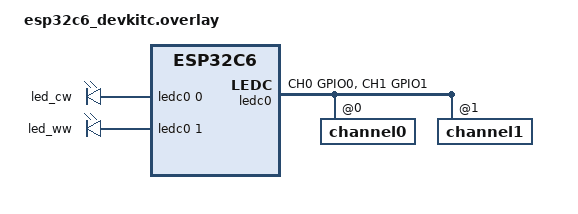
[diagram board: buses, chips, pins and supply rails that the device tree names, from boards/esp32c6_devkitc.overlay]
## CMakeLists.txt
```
# SPDX-License-Identifier: Apache-2.0
cmake_minimum_required(VERSION 3.20.0)

find_package(Zephyr REQUIRED HINTS $ENV{ZEPHYR_BASE})
project(coap_light)

target_include_directories(app PRIVATE ${CMAKE_CURRENT_SOURCE_DIR}/../common)

target_sources(app PRIVATE
  src/main.c
  src/light_state.c
  src/light_resource.c
  src/payload.c
)
```

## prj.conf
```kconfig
# --- Light node (mains-powered Thread FTD/Router) ---

# Networking + IPv6
CONFIG_NETWORKING=y
CONFIG_NET_IPV6=y
CONFIG_NET_UDP=y
CONFIG_NET_SOCKETS=y
CONFIG_NET_CONNECTION_MANAGER=y

# OpenThread as the L2 (portable across nRF / EFR32 / ESP32)
CONFIG_NET_L2_OPENTHREAD=y
CONFIG_OPENTHREAD_FTD=y
CONFIG_OPENTHREAD_MANUAL_START=n
# Preconfigured network for bring-up; replace with commissioning in production.
CONFIG_OPENTHREAD_JOINER=y
CONFIG_OPENTHREAD_SRP_CLIENT=y

# CoAP server subsystem (handles sockets, resources, observe)
CONFIG_COAP=y
CONFIG_COAP_SERVER=y
CONFIG_COAP_SERVER_WELL_KNOWN_CORE=y
CONFIG_COAP_SERVICE_OBSERVE=y
CONFIG_COAP_OBSERVER_MAX_PER_RESOURCE=4

# CBOR payloads
CONFIG_ZCBOR=y

# Persist last light state across reboots
CONFIG_SETTINGS=y
CONFIG_SETTINGS_RUNTIME=y
CONFIG_FLASH=y
CONFIG_FLASH_MAP=y
CONFIG_NVS=y
CONFIG_SETTINGS_NVS=y

# GPIO for relay/LED/button, PWM for the CW/WW LED channels
CONFIG_GPIO=y
CONFIG_PWM=y

# Logging
CONFIG_LOG=y
CONFIG_NET_LOG=y

# Reasonable stack/heap for the networking + CoAP workload
CONFIG_MAIN_STACK_SIZE=4096
CONFIG_HEAP_MEM_POOL_SIZE=16384
CONFIG_NET_PKT_RX_COUNT=16
CONFIG_NET_PKT_TX_COUNT=16
CONFIG_NET_BUF_RX_COUNT=32
CONFIG_NET_BUF_TX_COUNT=32
```

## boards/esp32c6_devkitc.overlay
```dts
/*
 * Light node (tunable-white LED PCB) on ESP32-C6. Cool/warm white LEDs driven
 * by the LEDC PWM peripheral for color temperature + dimming.
 *
 * NOTE: LEDC channel/pin wiring is board-specific — confirm the GPIOs/pinmux
 * against your custom PCB. See docs/hardware/light-node.md.
 */
#include <zephyr/dt-bindings/pwm/pwm.h>
#include <dt-bindings/pinctrl/esp32c6-pinctrl.h>

/ {
	aliases {
		pwm-cw = &led_cw;
		pwm-ww = &led_ww;
	};

	pwmleds {
		compatible = "pwm-leds";
		led_cw: led_cw { pwms = <&ledc0 0 PWM_HZ(1000) PWM_POLARITY_NORMAL>; };
		led_ww: led_ww { pwms = <&ledc0 1 PWM_HZ(1000) PWM_POLARITY_NORMAL>; };
	};
};

&ledc0 {
	pinctrl-0 = <&ledc0_default>;
	pinctrl-names = "default";
	status = "okay";
	#address-cells = <1>;
	#size-cells = <0>;

	channel0@0 { reg = <0x0>; timer = <0>; };
	channel1@1 { reg = <0x1>; timer = <0>; };
};

&pinctrl {
	ledc0_default: ledc0_default {
		group1 {
			pinmux = <LEDC_CH0_GPIO0>,
				 <LEDC_CH1_GPIO1>;
			output-enable;
		};
	};
};
```

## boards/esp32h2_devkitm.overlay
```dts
/*
 * Light node (tunable-white LED PCB) on ESP32-H2. Cool/warm white LEDs driven
 * by the LEDC PWM peripheral for color temperature + dimming.
 *
 * NOTE: LEDC channel/pin wiring is board-specific — confirm the GPIOs/pinmux
 * against your custom PCB. See docs/hardware/light-node.md.
 */
#include <zephyr/dt-bindings/pwm/pwm.h>
#include <dt-bindings/pinctrl/esp32h2-pinctrl.h>

/ {
	aliases {
		pwm-cw = &led_cw;
		pwm-ww = &led_ww;
	};

	pwmleds {
		compatible = "pwm-leds";
		led_cw: led_cw { pwms = <&ledc0 0 PWM_HZ(1000) PWM_POLARITY_NORMAL>; };
		led_ww: led_ww { pwms = <&ledc0 1 PWM_HZ(1000) PWM_POLARITY_NORMAL>; };
	};
};

&ledc0 {
	pinctrl-0 = <&ledc0_default>;
	pinctrl-names = "default";
	status = "okay";
	#address-cells = <1>;
	#size-cells = <0>;

	channel0@0 { reg = <0x0>; timer = <0>; };
	channel1@1 { reg = <0x1>; timer = <0>; };
};

&pinctrl {
	ledc0_default: ledc0_default {
		group1 {
			pinmux = <LEDC_CH0_GPIO0>,
				 <LEDC_CH1_GPIO1>;
			output-enable;
		};
	};
};
```

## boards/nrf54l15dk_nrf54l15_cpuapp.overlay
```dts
/*
 * Light node = tunable-white LED PCB (cool white + warm white, nRF54L15),
 * powered from a KC-certified SMPS DC rail. Two PWM channels drive the CW and
 * WW LED strings for color temperature + dimming.
 *
 * This overlay targets the nRF54L15 DK for prototyping; on the custom PCB keep
 * the same aliases (pwm-cw / pwm-ww) and map them to the real LED-driver gate
 * pins. Pins/channels below are examples — confirm against your schematic.
 * See docs/hardware/light-node.md.
 */
#include <zephyr/dt-bindings/pwm/pwm.h>

/ {
	aliases {
		pwm-cw = &led_cw;
		pwm-ww = &led_ww;
	};

	pwmleds {
		compatible = "pwm-leds";
		led_cw: led_cw { pwms = <&pwm20 0 PWM_MSEC(1) PWM_POLARITY_NORMAL>; };
		led_ww: led_ww { pwms = <&pwm20 1 PWM_MSEC(1) PWM_POLARITY_NORMAL>; };
	};
};

&pwm20 {
	status = "okay";
	pinctrl-0 = <&pwm20_default>;
	pinctrl-names = "default";
};

&pinctrl {
	pwm20_default: pwm20_default {
		group1 {
			psels = <NRF_PSEL(PWM_OUT0, 1, 4)>,
				<NRF_PSEL(PWM_OUT1, 1, 5)>;
		};
	};
};
```

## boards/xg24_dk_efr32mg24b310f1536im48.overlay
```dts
/*
 * Light node on Silicon Labs xG24 / EFR32MG24 (MGM240 core).
 *
 * The firmware supports tunable-white (CW/WW) dimming via PWM (aliases pwm-cw/
 * pwm-ww) OR simple on/off via a "light-relay" GPIO. PWM driver coverage for
 * Silabs Series 2 in Zephyr varies by SDK version, so this overlay ships the
 * on/off relay back end to guarantee a clean build.
 *
 * To enable color-temperature + dimming on this SoC:
 *   1. Confirm a PWM provider node is available for your EFR32MG24 in your
 *      Zephyr/SDK version (enable it with status = "okay").
 *   2. Replace the block below with a "pwm-leds" node + pwm-cw/pwm-ww aliases,
 *      mirroring boards/nrf54l15dk_nrf54l15_cpuapp.overlay.
 * See docs/hardware/light-node.md.
 */
/ {
	aliases {
		light-relay = &light_relay;
	};

	light_relays {
		compatible = "gpio-leds";
		light_relay: relay_0 {
			gpios = <&gpioc 0 GPIO_ACTIVE_HIGH>;
			label = "Light relay (on/off; swap for PWM CW/WW)";
		};
	};
};
```

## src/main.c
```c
#include <zephyr/kernel.h>
#include <zephyr/logging/log.h>
#include <zephyr/net/openthread.h>
#include <openthread/thread.h>

#include "light_state.h"

LOG_MODULE_REGISTER(light_main, LOG_LEVEL_INF);

/* Defined in light_resource.c: wires CoAP resources to the state module. */
void light_resource_init(void);

int main(void)
{
	LOG_INF("CoAP-over-Thread light node starting");

	/* With CONFIG_NET_L2_OPENTHREAD the Thread stack is initialized and
	 * (unless MANUAL_START) attempts to attach automatically using the
	 * commissioned/joined dataset. As an FTD/router it stays awake.
	 */
	struct openthread_context *ot = openthread_get_default_context();

	if (ot == NULL) {
		LOG_ERR("no OpenThread context");
		return -1;
	}

	/* Bring up CoAP resources + restore/drive the relay output. */
	light_resource_init();

	LOG_INF("light node ready; role=%d",
		otThreadGetDeviceRole(ot->instance));

	/* Application work is interrupt/CoAP driven; nothing to poll here. */
	return 0;
}
```

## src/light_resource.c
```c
/*
 * CoAP resources for the light node, built on Zephyr's coap_service subsystem.
 *
 *   GET  /light        -> current state
 *   PUT  /light        -> set (partial) state
 *   POST /light        -> toggle
 *   GET  /light/state  -> current state, observable (RFC 7641)
 *
 * The observe/notify flow mirrors samples/net/sockets/coap_server. Exact helper
 * names can vary slightly between Zephyr versions; adjust to your SDK if needed.
 */
#include <zephyr/kernel.h>
#include <zephyr/net/coap.h>
#include <zephyr/net/coap_service.h>
#include <zephyr/logging/log.h>

#include "light_state.h"
#include "payload.h"

LOG_MODULE_REGISTER(light_resource, LOG_LEVEL_INF);

#define MAX_COAP_MSG_LEN 128
#define STATE_PAYLOAD_MAX 64

/* One CoAP service listening on the default CoAP UDP port on all interfaces. */
COAP_SERVICE_DEFINE(light_service, "0.0.0.0", &(uint16_t){COAP_PORT},
		    COAP_SERVICE_AUTOSTART);

/* Observer pool for the observable /light/state resource. */
static struct coap_observer observers[CONFIG_COAP_OBSERVER_MAX_PER_RESOURCE];

/* Forward decl of the observable resource so the change callback can notify. */
static struct coap_resource *state_resource;

/* --- helpers --- */

static int build_state_response(struct coap_packet *resp, uint8_t *buf,
				size_t buf_len, const struct coap_packet *req,
				uint8_t code, int observe_seq)
{
	uint16_t id = coap_header_get_id(req);
	uint8_t token[COAP_TOKEN_MAX_LEN];
	uint8_t tkl = coap_header_get_token(req, token);
	uint8_t payload[STATE_PAYLOAD_MAX];
	struct light_state st;
	int plen;
	int r;

	r = coap_packet_init(resp, buf, buf_len, COAP_VERSION_1,
			     COAP_TYPE_ACK, tkl, token, code, id);
	if (r < 0) {
		return r;
	}

	if (observe_seq >= 0) {
		r = coap_append_option_int(resp, COAP_OPTION_OBSERVE,
					   observe_seq);
		if (r < 0) {
			return r;
		}
	}

	r = coap_append_option_int(resp, COAP_OPTION_CONTENT_FORMAT,
				   COAP_CT_CBOR);
	if (r < 0) {
		return r;
	}

	light_state_get(&st);
	plen = payload_encode_state(&st, NULL, payload, sizeof(payload));
	if (plen < 0) {
		return plen;
	}

	r = coap_packet_append_payload_marker(resp);
	if (r < 0) {
		return r;
	}
	return coap_packet_append_payload(resp, payload, plen);
}

/* --- GET /light and GET /light/state --- */

static int light_get(struct coap_resource *resource,
		     struct coap_packet *request,
		     struct sockaddr *addr, socklen_t addr_len)
{
	uint8_t buf[MAX_COAP_MSG_LEN];
	struct coap_packet response;
	int observe = -1;
	int r;

	/* Handle observe registration/deregistration on the state resource. */
	if (resource == state_resource) {
		int opt = coap_resource_parse_observe(resource, request, addr);

		if (opt == 0) {
			struct coap_observer *o =
				coap_observer_next_unused(observers,
							  ARRAY_SIZE(observers));
			if (o) {
				coap_observer_init(o, request, addr);
				coap_register_observer(resource, o);
				observe = resource->age;
				LOG_INF("observer registered");
			}
		} else if (opt == 1) {
			struct coap_observer *o =
				coap_find_observer(observers,
						   ARRAY_SIZE(observers),
						   addr, NULL, 0);
			if (o) {
				coap_remove_observer(resource, o);
				LOG_INF("observer removed");
			}
		}
	}

	r = build_state_response(&response, buf, sizeof(buf), request,
				 COAP_RESPONSE_CODE_CONTENT, observe);
	if (r < 0) {
		return r;
	}
	return coap_resource_send(resource, &response, addr, addr_len, NULL);
}

/* --- PUT /light --- */

static int light_put(struct coap_resource *resource,
		     struct coap_packet *request,
		     struct sockaddr *addr, socklen_t addr_len)
{
	uint8_t buf[MAX_COAP_MSG_LEN];
	struct coap_packet response;
	const uint8_t *payload;
	uint16_t payload_len;
	struct light_update upd;
	uint8_t code = COAP_RESPONSE_CODE_CHANGED;

	payload = coap_packet_get_payload(request, &payload_len);
	if (payload == NULL || payload_len == 0 ||
	    payload_decode_update(payload, payload_len, &upd) != 0) {
		code = COAP_RESPONSE_CODE_BAD_REQUEST;
	} else {
		light_state_apply(&upd, LIGHT_SRC_BRIDGE);
	}

	if (build_state_response(&response, buf, sizeof(buf), request, code,
				 -1) < 0) {
		return -EINVAL;
	}
	return coap_resource_send(resource, &response, addr, addr_len, NULL);
}

/* --- POST /light (toggle) --- */

static int light_post(struct coap_resource *resource,
		      struct coap_packet *request,
		      struct sockaddr *addr, socklen_t addr_len)
{
	uint8_t buf[MAX_COAP_MSG_LEN];
	struct coap_packet response;

	light_state_toggle(LIGHT_SRC_SWITCH);

	if (build_state_response(&response, buf, sizeof(buf), request,
				 COAP_RESPONSE_CODE_CHANGED, -1) < 0) {
		return -EINVAL;
	}
	return coap_resource_send(resource, &response, addr, addr_len, NULL);
}

/* --- resource definitions --- */

static const char * const light_path[] = { COAP_URI_LIGHT, NULL };
static const char * const light_state_path[] = {
	COAP_URI_LIGHT_STATE_0, COAP_URI_LIGHT_STATE_1, NULL
};

COAP_RESOURCE_DEFINE(light, light_service, {
	.path = light_path,
	.get = light_get,
	.put = light_put,
	.post = light_post,
});

COAP_RESOURCE_DEFINE(light_state, light_service, {
	.path = light_state_path,
	.get = light_get,
});

/* --- notify observers on state change (called from light_state) --- */

static void notify_observers(const struct light_state *state, const char *src)
{
	struct coap_resource *resource = state_resource;
	struct coap_observer *o;

	if (resource == NULL) {
		return;
	}

	resource->age++;

	SYS_SLIST_FOR_EACH_CONTAINER(&resource->observers, o, list) {
		uint8_t buf[MAX_COAP_MSG_LEN];
		uint8_t payload[STATE_PAYLOAD_MAX];
		struct coap_packet notif;
		int plen;

		if (coap_packet_init(&notif, buf, sizeof(buf), COAP_VERSION_1,
				     COAP_TYPE_NON_CON, o->tkl, o->token,
				     COAP_RESPONSE_CODE_CONTENT,
				     coap_next_id()) < 0) {
			continue;
		}
		if (coap_append_option_int(&notif, COAP_OPTION_OBSERVE,
					   resource->age) < 0) {
			continue;
		}
		if (coap_append_option_int(&notif, COAP_OPTION_CONTENT_FORMAT,
					   COAP_CT_CBOR) < 0) {
			continue;
		}
		plen = payload_encode_state(state, src, payload,
					    sizeof(payload));
		if (plen < 0) {
			continue;
		}
		if (coap_packet_append_payload_marker(&notif) < 0) {
			continue;
		}
		if (coap_packet_append_payload(&notif, payload, plen) < 0) {
			continue;
		}
		coap_resource_send(resource, &notif, &o->addr,
				   sizeof(o->addr), NULL);
	}
}

void light_resource_init(void)
{
	state_resource = &light_state;
	light_state_init(notify_observers);
}
```

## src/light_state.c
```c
#include <zephyr/kernel.h>
#include <zephyr/drivers/gpio.h>
#include <zephyr/drivers/pwm.h>
#include <zephyr/settings/settings.h>
#include <zephyr/logging/log.h>

#include "light_state.h"

LOG_MODULE_REGISTER(light_state, LOG_LEVEL_INF);

/*
 * Output back end is selected at build time from the board overlay:
 *
 *   - Tunable-white LED PCB (this project's light): two PWM channels
 *     pwm-cw (cool white) and pwm-ww (warm white) give brightness + color
 *     temperature. The CW/WW split is derived from the color temperature and
 *     both are scaled by the master brightness.
 *   - Simple on/off fixture: a single "light-relay" GPIO.
 *
 * See docs/hardware/light-node.md.
 */
#if DT_NODE_EXISTS(DT_ALIAS(pwm_cw)) && DT_NODE_EXISTS(DT_ALIAS(pwm_ww))
#define HAVE_CCT_PWM 1
static const struct pwm_dt_spec pwm_cw = PWM_DT_SPEC_GET(DT_ALIAS(pwm_cw));
static const struct pwm_dt_spec pwm_ww = PWM_DT_SPEC_GET(DT_ALIAS(pwm_ww));
#else
#define HAVE_CCT_PWM 0
#define LIGHT_RELAY_NODE DT_ALIAS(light_relay)
#if !DT_NODE_EXISTS(LIGHT_RELAY_NODE)
#error "Board overlay must define pwm-cw/pwm-ww aliases or a 'light-relay' GPIO"
#endif
static const struct gpio_dt_spec relay =
	GPIO_DT_SPEC_GET(LIGHT_RELAY_NODE, gpios);
#endif

/* Optional status LED mirrors the on/off state. */
#define LED0_NODE DT_ALIAS(led0)
#if DT_NODE_EXISTS(LED0_NODE)
static const struct gpio_dt_spec led = GPIO_DT_SPEC_GET(LED0_NODE, gpios);
#endif

static struct light_state g_state = {
	.on = false,
#if HAVE_CCT_PWM
	.bri = LIGHT_BRI_MAX,               /* tunable-white: full brightness */
	.ct = (LIGHT_CT_MIN + LIGHT_CT_MAX) / 2, /* neutral color temp */
#else
	.bri = 0,                           /* on/off fixture: no dimming */
#endif
	.seq = 0,
};
static struct k_mutex g_lock;
static light_state_changed_cb g_cb;

#define SETTINGS_KEY "light/state"

/* --- persistence via the settings subsystem --- */

static int state_settings_set(const char *name, size_t len,
			      settings_read_cb read_cb, void *cb_arg)
{
	if (settings_name_steq(name, "state", NULL)) {
		struct light_state loaded;
		ssize_t n = read_cb(cb_arg, &loaded, sizeof(loaded));

		if (n == sizeof(loaded)) {
			g_state = loaded;
		}
		return 0;
	}
	return -ENOENT;
}

SETTINGS_STATIC_HANDLER_DEFINE(light, "light", NULL, state_settings_set,
			      NULL, NULL);

static void state_persist(void)
{
	int err = settings_save_one(SETTINGS_KEY, &g_state, sizeof(g_state));

	if (err) {
		LOG_WRN("settings_save_one failed: %d", err);
	}
}

/* --- output --- */

#if HAVE_CCT_PWM
/* Set one channel: duty = value(0..255) * bri(0..254) / (255*254) of period.
 * When off, duty is 0. */
static void set_channel(const struct pwm_dt_spec *ch, uint8_t value)
{
	uint32_t period = ch->period;
	uint32_t bri = g_state.on ? g_state.bri : 0;
	uint32_t pulse = (uint32_t)((uint64_t)period * value * bri /
				    (255u * LIGHT_BRI_MAX));

	(void)pwm_set_pulse_dt(ch, pulse);
}
#endif

static void drive_output(void)
{
#if HAVE_CCT_PWM
	/* Map color temperature (mireds) to a cool/warm split. Higher mired =
	 * warmer, so warm_frac rises toward LIGHT_CT_MAX. cw + ww values sum to
	 * 255 so overall output stays ~constant across the CT range. */
	uint16_t ct = g_state.ct;

	if (ct < LIGHT_CT_MIN) {
		ct = LIGHT_CT_MIN;
	}
	if (ct > LIGHT_CT_MAX) {
		ct = LIGHT_CT_MAX;
	}
	uint32_t warm = (uint32_t)(ct - LIGHT_CT_MIN) * 255u /
			(LIGHT_CT_MAX - LIGHT_CT_MIN);
	uint8_t ww_val = (uint8_t)warm;
	uint8_t cw_val = (uint8_t)(255u - warm);

	set_channel(&pwm_cw, cw_val);
	set_channel(&pwm_ww, ww_val);
#else
	gpio_pin_set_dt(&relay, g_state.on ? 1 : 0);
#endif
#if DT_NODE_EXISTS(LED0_NODE)
	gpio_pin_set_dt(&led, g_state.on ? 1 : 0);
#endif
}

int light_state_init(light_state_changed_cb cb)
{
	k_mutex_init(&g_lock);
	g_cb = cb;

#if HAVE_CCT_PWM
	if (!pwm_is_ready_dt(&pwm_cw) || !pwm_is_ready_dt(&pwm_ww)) {
		return -ENODEV;
	}
#else
	if (!gpio_is_ready_dt(&relay)) {
		return -ENODEV;
	}
	int err = gpio_pin_configure_dt(&relay, GPIO_OUTPUT_INACTIVE);

	if (err) {
		return err;
	}
#endif
#if DT_NODE_EXISTS(LED0_NODE)
	if (gpio_is_ready_dt(&led)) {
		gpio_pin_configure_dt(&led, GPIO_OUTPUT_INACTIVE);
	}
#endif

	/* Restore persisted state (default off if none). */
	settings_subsys_init();
	settings_load_subtree("light");

	drive_output();
	if (g_cb) {
		g_cb(&g_state, LIGHT_SRC_BOOT);
	}
	LOG_INF("light init: on=%d bri=%d ct=%u seq=%u", g_state.on,
		g_state.bri, g_state.ct, g_state.seq);
	return 0;
}

static void commit_change(const char *src)
{
	g_state.seq++;
	drive_output();
	state_persist();
	if (g_cb) {
		g_cb(&g_state, src);
	}
}

void light_state_apply(const struct light_update *upd, const char *src)
{
	bool changed = false;

	k_mutex_lock(&g_lock, K_FOREVER);
	if (upd->has_on && upd->on != g_state.on) {
		g_state.on = upd->on;
		changed = true;
	}
	if (upd->has_bri && g_state.bri != 0 && upd->bri != g_state.bri) {
		g_state.bri = upd->bri;
		if (!g_state.on) {
			g_state.on = true; /* brightness change implies on */
		}
		changed = true;
	}
	if (upd->has_ct && upd->ct != g_state.ct) {
		g_state.ct = upd->ct;
		if (!g_state.on) {
			g_state.on = true; /* CT change implies on */
		}
		changed = true;
	}
	if (changed) {
		commit_change(src);
	}
	k_mutex_unlock(&g_lock);
}

void light_state_toggle(const char *src)
{
	k_mutex_lock(&g_lock, K_FOREVER);
	g_state.on = !g_state.on;
	commit_change(src);
	k_mutex_unlock(&g_lock);
}

void light_state_get(struct light_state *out)
{
	k_mutex_lock(&g_lock, K_FOREVER);
	*out = g_state;
	k_mutex_unlock(&g_lock);
}
```

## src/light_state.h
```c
/*
 * Light state: single source of truth for on/off (+ optional brightness),
 * drives the relay/PWM output, and persists across reboots via settings.
 */
#ifndef LIGHT_STATE_H_
#define LIGHT_STATE_H_

#include "coap_resources.h"
#include "payload.h"

/* Callback invoked whenever the state actually changes, so the CoAP layer
 * can notify observers. Registered by the resource module.
 */
typedef void (*light_state_changed_cb)(const struct light_state *state,
				       const char *src);

/* Initialize GPIO/PWM output and restore persisted state. */
int light_state_init(light_state_changed_cb cb);

/* Apply a (partial) update from a given source. No-op notify if unchanged. */
void light_state_apply(const struct light_update *upd, const char *src);

/* Toggle on/off from a given source. */
void light_state_toggle(const char *src);

/* Read current state (copy). */
void light_state_get(struct light_state *out);

#endif /* LIGHT_STATE_H_ */
```

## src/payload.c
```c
/*
 * CBOR (de)serialization using zcbor's manual encoding/decoding API.
 * Tunable-white schema: { on, bri, ct, src, seq }.
 */
#include <zcbor_encode.h>
#include <zcbor_decode.h>
#include "payload.h"

/* State map: on, bri, ct, src, seq. */
#define STATE_MAP_MAX_ENTRIES 5

int payload_encode_state(const struct light_state *state, const char *src,
			 uint8_t *buf, size_t buf_len)
{
	ZCBOR_STATE_E(enc, 1, buf, buf_len, 1);
	bool ok = true;

	ok = ok && zcbor_map_start_encode(enc, STATE_MAP_MAX_ENTRIES);

	ok = ok && zcbor_tstr_put_lit(enc, LIGHT_KEY_ON);
	ok = ok && zcbor_bool_put(enc, state->on);

	if (state->bri != 0) {
		ok = ok && zcbor_tstr_put_lit(enc, LIGHT_KEY_BRI);
		ok = ok && zcbor_uint32_put(enc, state->bri);
	}

	if (state->ct != 0) {
		ok = ok && zcbor_tstr_put_lit(enc, LIGHT_KEY_CT);
		ok = ok && zcbor_uint32_put(enc, state->ct);
	}

	if (src != NULL) {
		ok = ok && zcbor_tstr_put_lit(enc, LIGHT_KEY_SRC);
		ok = ok && zcbor_tstr_put_term(enc, (char *)src, 16);
	}

	ok = ok && zcbor_tstr_put_lit(enc, LIGHT_KEY_SEQ);
	ok = ok && zcbor_uint32_put(enc, state->seq);

	ok = ok && zcbor_map_end_encode(enc, STATE_MAP_MAX_ENTRIES);

	if (!ok) {
		return -ENOMEM;
	}
	return (int)(enc->payload - buf);
}

int payload_decode_update(const uint8_t *buf, size_t buf_len,
			  struct light_update *out)
{
	ZCBOR_STATE_D(dec, 1, buf, buf_len, STATE_MAP_MAX_ENTRIES, 0);

	*out = (struct light_update){0};

	if (!zcbor_map_start_decode(dec)) {
		return -EINVAL;
	}

	while (!zcbor_list_or_map_end(dec)) {
		struct zcbor_string key;

		if (!zcbor_tstr_decode(dec, &key)) {
			return -EINVAL;
		}

#define KEY_IS(lit) (key.len == strlen(lit) && \
		     memcmp(key.value, lit, key.len) == 0)

		if (KEY_IS(LIGHT_KEY_ON)) {
			if (!zcbor_bool_decode(dec, &out->on)) {
				return -EINVAL;
			}
			out->has_on = true;
		} else if (KEY_IS(LIGHT_KEY_BRI)) {
			uint32_t bri;

			if (!zcbor_uint32_decode(dec, &bri)) {
				return -EINVAL;
			}
			if (bri < LIGHT_BRI_MIN) {
				bri = LIGHT_BRI_MIN;
			}
			if (bri > LIGHT_BRI_MAX) {
				bri = LIGHT_BRI_MAX;
			}
			out->bri = (uint8_t)bri;
			out->has_bri = true;
		} else if (KEY_IS(LIGHT_KEY_CT)) {
			uint32_t ct;

			if (!zcbor_uint32_decode(dec, &ct)) {
				return -EINVAL;
			}
			if (ct < LIGHT_CT_MIN) {
				ct = LIGHT_CT_MIN;
			}
			if (ct > LIGHT_CT_MAX) {
				ct = LIGHT_CT_MAX;
			}
			out->ct = (uint16_t)ct;
			out->has_ct = true;
		} else {
			/* Unknown key (e.g. "src"/"seq" from a peer): skip value. */
			if (!zcbor_any_skip(dec, NULL)) {
				return -EINVAL;
			}
		}
#undef KEY_IS
	}

	if (!zcbor_map_end_decode(dec)) {
		return -EINVAL;
	}
	return 0;
}
```

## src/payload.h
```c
/*
 * CBOR (de)serialization of the light state object.
 * Schema: { "on": bool, "bri": uint (optional), "src": tstr (optional),
 *           "seq": uint (optional) }.  See docs/coap-resource-model.md.
 */
#ifndef PAYLOAD_H_
#define PAYLOAD_H_

#include <stdbool.h>
#include <stdint.h>
#include <stddef.h>
#include "coap_resources.h"

/* Result of decoding a (possibly partial) PUT payload. Flags mark which
 * fields were actually present so the handler can do a partial update.
 */
struct light_update {
	bool has_on;
	bool on;
	bool has_bri;
	uint8_t bri;
	bool has_ct;
	uint16_t ct;
};

/* Encode full state -> CBOR into buf. Returns bytes written or negative errno. */
int payload_encode_state(const struct light_state *state, const char *src,
			 uint8_t *buf, size_t buf_len);

/* Decode a PUT payload into an update descriptor. Returns 0 or negative errno. */
int payload_decode_update(const uint8_t *buf, size_t buf_len,
			  struct light_update *out);

#endif /* PAYLOAD_H_ */
```
